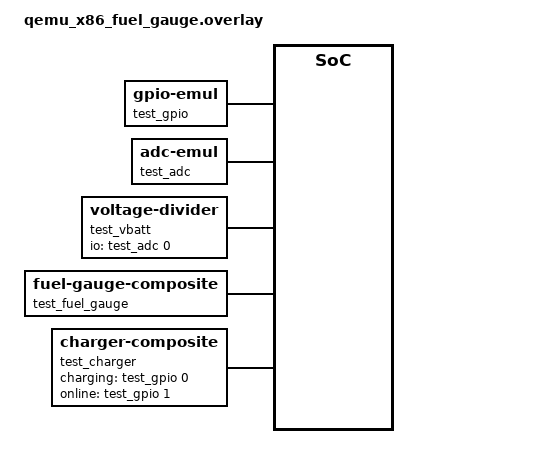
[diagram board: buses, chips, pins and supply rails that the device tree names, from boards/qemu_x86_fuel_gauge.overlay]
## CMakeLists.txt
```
cmake_minimum_required(VERSION 3.20.0)

find_package(Zephyr REQUIRED HINTS $ENV{ZEPHYR_BASE})
project(meshbus_power_contract_test)

target_sources(app PRIVATE src/test_api.c)

target_link_libraries(zephyr_interface INTERFACE
  "-Wl,--wrap=settings_save_one"
  "-Wl,--wrap=sys_poweroff"
  "-Wl,--wrap=sys_reboot"
)
```

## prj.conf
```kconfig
CONFIG_ZTEST=y
CONFIG_ASSERT=y
CONFIG_LOG=y

CONFIG_MESHBUS=y
CONFIG_MESHBUS_SHELL=n
CONFIG_MESHBUS_POWER=y
CONFIG_MESHBUS_POWER_SHELL=n
CONFIG_MESHBUS_POWER_STATS=n
CONFIG_ACPI=y
CONFIG_ACPI_POWEROFF=y
CONFIG_PM_DEVICE=y

CONFIG_ZBUS_RUNTIME_OBSERVERS=y
CONFIG_SETTINGS=y
CONFIG_SETTINGS_NONE=y

CONFIG_MAIN_STACK_SIZE=4096
CONFIG_SYSTEM_WORKQUEUE_STACK_SIZE=4096
CONFIG_ZTEST_STACK_SIZE=4096
```

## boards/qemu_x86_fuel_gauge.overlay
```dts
/*
 * Copyright (c) 2026 FoBE Studio
 *
 * SPDX-License-Identifier: Apache-2.0
 */

#include <zephyr/dt-bindings/adc/adc.h>
#include <zephyr/dt-bindings/battery/battery.h>
#include <zephyr/dt-bindings/gpio/gpio.h>

/ {
	chosen {
		meshbus-fuel-gauge = &test_fuel_gauge;
		meshbus-charger = &test_charger;
	};

	test_gpio: gpio {
		compatible = "zephyr,gpio-emul";
		ngpios = <2>;
		status = "okay";
		#gpio-cells = <2>;
		gpio-controller;
	};

	test_adc: adc {
		compatible = "zephyr,adc-emul";
		nchannels = <1>;
		ref-internal-mv = <3300>;
		#io-channel-cells = <1>;
		status = "okay";

		#address-cells = <1>;
		#size-cells = <0>;

		channel@0 {
			reg = <0>;
			zephyr,gain = "ADC_GAIN_1_2";
			zephyr,reference = "ADC_REF_INTERNAL";
			zephyr,vref-mv = <3300>;
			zephyr,acquisition-time = <ADC_ACQ_TIME_DEFAULT>;
			zephyr,resolution = <12>;
		};
	};

	test_vbatt: vbatt {
		compatible = "voltage-divider";
		io-channels = <&test_adc 0>;
		output-ohms = <100000>;
		full-ohms = <100000>;
	};

	test_fuel_gauge: fuel_gauge {
		compatible = "zephyr,fuel-gauge-composite";
		source-primary = <&test_vbatt>;
		device-chemistry = "lithium-ion-polymer";
		ocv-capacity-table-0 = <BATTERY_OCV_CURVE_LITHIUM_ION_POLYMER_DEFAULT>;
		charge-full-design-microamp-hours = <1500000>;
	};

	test_charger: charger {
		compatible = "zephyr,charger-composite";
		source-primary = <&test_fuel_gauge>;
		charging-gpios = <&test_gpio 0 GPIO_ACTIVE_HIGH>;
		online-gpios = <&test_gpio 1 GPIO_ACTIVE_HIGH>;
		constant-charge-voltage-max-microvolt = <4200000>;
		gpio-debounce-ms = <10>;
		gpio-poll-interval-ms = <20>;
	};
};
```

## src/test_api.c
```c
// SPDX-License-Identifier: Apache-2.0
/*
 * Copyright (c) 2026 FoBE Studio
 */

#include <errno.h>
#include <setjmp.h>
#include <string.h>

#include <zephyr/device.h>
#include <zephyr/devicetree.h>
#if DT_HAS_CHOSEN(meshbus_fuel_gauge)
#include <zephyr/drivers/adc/adc_emul.h>
#include <zephyr/drivers/gpio/gpio_emul.h>
#endif
#include <zephyr/meshbus/power.h>
#if IS_ENABLED(CONFIG_MESHBUS_MESHCORE)
#include <zephyr/meshbus/meshcore.h>
#endif
#include <zephyr/settings/settings.h>
#include <zephyr/sys/reboot.h>
#include <zephyr/zbus/zbus.h>
#include <zephyr/ztest.h>

#if DT_HAS_CHOSEN(meshbus_fuel_gauge)
#define ADC_NODE       DT_NODELABEL(test_adc)
#define GPIO_NODE      DT_NODELABEL(test_gpio)
#define CHARGER_NODE   DT_NODELABEL(test_charger)
#define ADC_CHANNEL_ID 0U
#define CHARGING_PIN   DT_GPIO_PIN(CHARGER_NODE, charging_gpios)
#define ONLINE_PIN     DT_GPIO_PIN(CHARGER_NODE, online_gpios)
#define POWER_TEST_SAMPLE_INTERVAL_MS CONFIG_MESHBUS_POWER_SAMPLE_INTERVAL
#define POWER_TEST_LOW_TIMEOUT_S      2U
#define POWER_TEST_LOW_RESET_TIMEOUT_S 4U
#define POWER_TEST_LOW_SAMPLE_COUNT   6U

static const struct device *const adc_dev = DEVICE_DT_GET(ADC_NODE);
static const struct device *const gpio_dev = DEVICE_DT_GET(GPIO_NODE);

struct test_adc_state {
	uint32_t voltage_mv;
	uint32_t read_count;
	int rc;
};

static struct test_adc_state adc_state;
static K_SEM_DEFINE(power_event_sem, 0, 1);

static void power_event_listener_cb(const struct zbus_channel *chan)
{
	ARG_UNUSED(chan);

	k_sem_give(&power_event_sem);
}

ZBUS_LISTENER_DEFINE(power_event_listener, power_event_listener_cb);
ZBUS_CHAN_ADD_OBS(meshbus_power_fuel_gauge_data_chan, power_event_listener, 3);
#endif

static enum meshbus_power_action last_action;
static uint32_t action_count;
static uint32_t poweroff_count;
static uint32_t reboot_count;
static int last_reboot_type;
static jmp_buf power_jump_env;
static bool power_jump_armed;

#if IS_ENABLED(CONFIG_MESHBUS_MESHCORE)
#define MESHCORE_SETTINGS_CONFIG_KEY "meshbus/meshcore/config"

static K_SEM_DEFINE(meshcore_shutdown_done_sem, 0, 1);
static uint32_t meshcore_settings_save_count;
static int meshcore_shutdown_jump_code;
static bool meshcore_save_before_poweroff;
static bool meshcore_settings_save_fail;
#endif

int __real_settings_save_one(const char *name, const void *value, size_t value_len);

int __wrap_settings_save_one(const char *name, const void *value, size_t value_len)
{
#if IS_ENABLED(CONFIG_MESHBUS_MESHCORE)
	if (name != NULL && strcmp(name, MESHCORE_SETTINGS_CONFIG_KEY) == 0) {
		meshcore_settings_save_count++;
		meshcore_save_before_poweroff = poweroff_count == 0U;
		if (meshcore_settings_save_fail) {
			return -EIO;
		}

		return 0;
	}
#endif

	return __real_settings_save_one(name, value, value_len);
}

void __wrap_sys_poweroff(void)
{
	poweroff_count++;
	if (power_jump_armed) {
		longjmp(power_jump_env, 1);
	}
}

void __wrap_sys_reboot(int type)
{
	reboot_count++;
	last_reboot_type = type;
	if (power_jump_armed) {
		longjmp(power_jump_env, 2);
	}
}

#if IS_ENABLED(CONFIG_MESHBUS_MESHCORE)
static void meshcore_shutdown_work_handler(struct k_work *work)
{
	ARG_UNUSED(work);

	meshcore_shutdown_jump_code = setjmp(power_jump_env);
	if (meshcore_shutdown_jump_code == 0) {
		power_jump_armed = true;
		(void)meshbus_power_shutdown();
		zassert_unreachable("meshbus_power_shutdown should reach sys_poweroff");
	}
	power_jump_armed = false;
	k_sem_give(&meshcore_shutdown_done_sem);
}
K_WORK_DEFINE(meshcore_shutdown_work, meshcore_shutdown_work_handler);

static void meshcore_shutdown_run(void)
{
	k_sem_reset(&meshcore_shutdown_done_sem);
	zassert_equal(k_work_submit(&meshcore_shutdown_work), 1,
		      "shutdown work was not submitted");
	zassert_ok(k_sem_take(&meshcore_shutdown_done_sem, K_SECONDS(2)),
		   "shutdown work did not reach sys_poweroff");
}
#endif

static void power_action_cb(enum meshbus_power_action action, void *user_data)
{
	ARG_UNUSED(user_data);
	last_action = action;
	action_count++;
}
MESHBUS_POWER_ACTION_CALLBACK_DEFINE(power_action_cb, NULL);

#if DT_HAS_CHOSEN(meshbus_fuel_gauge)
static int test_adc_value_func(const struct device *dev, unsigned int chan, void *data,
			       uint32_t *result)
{
	struct test_adc_state *state = data;

	ARG_UNUSED(dev);
	ARG_UNUSED(chan);

	state->read_count++;
	if (state->rc != 0) {
		return state->rc;
	}

	*result = state->voltage_mv;
	return 0;
}

static void test_wait_fuel_gauge_cache_expire(void)
{
	k_sleep(K_MSEC(CONFIG_FUEL_GAUGE_COMPOSITE_DATA_VALIDITY_MS + 5));
}

static void test_set_adc_voltage(uint32_t voltage_mv)
{
	adc_state.voltage_mv = voltage_mv;
	adc_state.rc = 0;
	test_wait_fuel_gauge_cache_expire();
}

static void test_set_adc_error(int rc)
{
	adc_state.rc = rc;
	test_wait_fuel_gauge_cache_expire();
}

static void test_set_charging(bool charging)
{
	zassert_ok(gpio_emul_input_set(gpio_dev, CHARGING_PIN, charging ? 1 : 0));
	zassert_ok(gpio_emul_input_set(gpio_dev, ONLINE_PIN, charging ? 1 : 0));
}

static void test_wait_for_next_power_event(k_timeout_t timeout)
{
	k_sem_reset(&power_event_sem);
	zassert_ok(k_sem_take(&power_event_sem, timeout), "Timed out waiting for power event");
}

static void test_reset_fuel_gauge_state(void)
{
	zassert_true(device_is_ready(adc_dev), "ADC emulator is not ready");
	zassert_true(device_is_ready(gpio_dev), "GPIO emulator is not ready");

	adc_state.voltage_mv = 3900U;
	adc_state.read_count = 0U;
	adc_state.rc = 0;
	k_sem_reset(&power_event_sem);
	zassert_ok(
		adc_emul_value_func_set(adc_dev, ADC_CHANNEL_ID, test_adc_value_func, &adc_state));
	test_set_charging(false);
	test_wait_fuel_gauge_cache_expire();
}

static bool test_event_matches_voltage(const struct meshbus_power_fuel_gauge_data_event *event,
				       uint32_t voltage_mv)
{
	return event->voltage_mv >= voltage_mv - 20U && event->voltage_mv <= voltage_mv + 20U;
}

static void test_wait_for_voltage_event(uint32_t voltage_mv)
{
	struct meshbus_power_fuel_gauge_data_event event = {0};

	for (uint8_t i = 0U; i < 4U; i++) {
		zassert_ok(zbus_chan_read(&meshbus_power_fuel_gauge_data_chan, &event,
					  K_MSEC(POWER_TEST_SAMPLE_INTERVAL_MS + 250)));
		if (test_event_matches_voltage(&event, voltage_mv)) {
			return;
		}
		k_sleep(K_MSEC(POWER_TEST_SAMPLE_INTERVAL_MS + 100U));
	}

	zassert_unreachable("Timed out waiting for expected fuel-gauge voltage");
}

static void test_wait_without_poweroff(uint32_t duration_ms)
{
	uint32_t before = poweroff_count;

	k_sleep(K_MSEC(duration_ms));
	zassert_equal(poweroff_count, before);
}

static void test_set_low_voltage_config(uint32_t timeout_s)
{
	meshbus_power_config cfg = meshbus_PowerConfig_init_zero;

	cfg.low_voltage_shutdown_timeout = timeout_s;
	zassert_ok(meshbus_power_config_set(&cfg));
}
#endif

static meshbus_power_config valid_power_config(void)
{
	meshbus_power_config cfg = meshbus_PowerConfig_init_zero;

	cfg.low_voltage_shutdown_timeout = 10;
	cfg.losing_power_shutdown_timeout = 20;
	cfg.no_connection_shutdown_timeout = 30;
	return cfg;
}

static void power_before(void *fixture)
{
	ARG_UNUSED(fixture);
	zassert_ok(meshbus_power_config_reset());
	last_action = 0;
	action_count = 0;
	poweroff_count = 0;
	reboot_count = 0;
	last_reboot_type = -1;
	power_jump_armed = false;
#if IS_ENABLED(CONFIG_MESHBUS_MESHCORE)
	meshcore_settings_save_count = 0U;
	meshcore_shutdown_jump_code = 0;
	meshcore_save_before_poweroff = false;
	meshcore_settings_save_fail = false;
	k_sem_reset(&meshcore_shutdown_done_sem);
#endif
#if DT_HAS_CHOSEN(meshbus_fuel_gauge)
	test_reset_fuel_gauge_state();
#endif
}

ZTEST(meshbus_power_contract, test_config_defaults_set_get_reset_and_validation)
{
	meshbus_power_config cfg = valid_power_config();
	meshbus_power_config got;

	zassert_equal(meshbus_power_config_get(NULL), -EINVAL);
	zassert_ok(meshbus_power_config_get(&got));
	zassert_equal(got.low_voltage_shutdown_timeout, 0);
	zassert_equal(got.losing_power_shutdown_timeout, 0);
	zassert_equal(got.no_connection_shutdown_timeout, 0);

	zassert_ok(meshbus_power_config_set(&cfg));
	zassert_ok(meshbus_power_config_get(&got));
	zassert_equal(got.low_voltage_shutdown_timeout, cfg.low_voltage_shutdown_timeout);

	cfg.low_voltage_shutdown_timeout = 301;
	zassert_equal(meshbus_power_config_set(&cfg), -EINVAL);

	cfg = valid_power_config();
	cfg.losing_power_shutdown_timeout = 301;
	zassert_equal(meshbus_power_config_set(&cfg), -EINVAL);

	cfg = valid_power_config();
	cfg.no_connection_shutdown_timeout = 301;
	zassert_equal(meshbus_power_config_set(&cfg), -EINVAL);
}

#if !DT_HAS_CHOSEN(meshbus_fuel_gauge)
ZTEST(meshbus_power_contract, test_no_fuel_gauge_and_public_channel_contract)
{
	struct meshbus_power_fuel_gauge_data_event event = {
		.voltage_mv = 3700,
		.soc_percent = 50,
		.temperature_dk = 2981,
		.charging = true,
		.online = true,
	};
	uint16_t voltage;
	uint8_t soc;
	uint16_t temperature;

	zassert_false(meshbus_power_is_charging());
	zassert_false(meshbus_power_is_online());
	zassert_equal(meshbus_power_fuel_gauge_get(&voltage, &soc, &temperature), -ENODEV);
	zassert_ok(zbus_chan_pub(&meshbus_power_fuel_gauge_data_chan, &event, K_NO_WAIT));
	zassert_ok(zbus_chan_read(&meshbus_power_fuel_gauge_data_chan, &event, K_NO_WAIT));
	zassert_equal(event.voltage_mv, 3700);
	zassert_true(event.charging);
}
#endif

#if DT_HAS_CHOSEN(meshbus_fuel_gauge)
ZTEST(meshbus_power_contract, test_fuel_gauge_get_bootstraps_then_uses_cache)
{
	uint32_t first_read_count;
	uint16_t first_voltage;
	uint16_t voltage;
	uint8_t soc;
	uint16_t temperature;

	test_set_adc_voltage(3900U);
	test_wait_for_voltage_event(3900U);
	zassert_ok(meshbus_power_fuel_gauge_get(&voltage, &soc, &temperature));
	zassert_within(voltage, 3900U, 20U);
	zassert_true(soc > 0U, "3900 mV should map to non-zero SOC");
	first_voltage = voltage;
	first_read_count = adc_state.read_count;

	test_set_adc_voltage(4200U);
	zassert_ok(meshbus_power_fuel_gauge_get(&voltage, &soc, &temperature));
	zassert_equal(voltage, first_voltage, "second getter should return cached voltage");
	zassert_equal(adc_state.read_count, first_read_count,
		      "second getter should not read hardware");
}

ZTEST(meshbus_power_contract, test_periodic_work_publishes_fuel_gauge_event)
{
	struct meshbus_power_fuel_gauge_data_event event = {0};

	test_set_adc_voltage(4010U);

	for (uint8_t i = 0U; i < 20U; i++) {
		zassert_ok(zbus_chan_read(&meshbus_power_fuel_gauge_data_chan, &event,
					  K_MSEC(POWER_TEST_SAMPLE_INTERVAL_MS + 250)));
		if (event.voltage_mv >= 3990U && event.voltage_mv <= 4030U) {
			break;
		}
		k_sleep(K_MSEC(POWER_TEST_SAMPLE_INTERVAL_MS + 100U));
	}

	zassert_within(event.voltage_mv, 4010U, 20U);
	zassert_true(event.soc_percent > 0U);
}

ZTEST(meshbus_power_contract, test_charger_notification_publishes_without_periodic_delay)
{
	struct meshbus_power_fuel_gauge_data_event event = {0};

	test_set_charging(false);
	test_set_adc_voltage(3900U);
	test_wait_for_next_power_event(K_MSEC(POWER_TEST_SAMPLE_INTERVAL_MS + 250U));

	k_sem_reset(&power_event_sem);
	test_set_adc_voltage(4010U);
	test_set_charging(true);
	zassert_ok(k_sem_take(&power_event_sem, K_MSEC(250)),
		   "Charger notification did not publish before the periodic interval");
	zassert_ok(zbus_chan_read(&meshbus_power_fuel_gauge_data_chan, &event, K_NO_WAIT));
	zassert_true(event.charging);
	zassert_true(event.online);
	zassert_true(test_event_matches_voltage(&event, 4010U));

	k_sem_reset(&power_event_sem);
	test_set_charging(false);
	zassert_ok(k_sem_take(&power_event_sem, K_MSEC(250)),
		   "Charger removal did not publish before the periodic interval");
	zassert_ok(zbus_chan_read(&meshbus_power_fuel_gauge_data_chan, &event, K_NO_WAIT));
	zassert_false(event.charging);
	zassert_false(event.online);
}

ZTEST(meshbus_power_contract,
      test_low_voltage_state_resets_on_recovery_charging_invalid_and_disable)
{
	meshbus_power_config cfg = meshbus_PowerConfig_init_zero;

	test_set_low_voltage_config(POWER_TEST_LOW_RESET_TIMEOUT_S);
	test_set_charging(false);
	test_set_adc_voltage(2500U);
	test_wait_without_poweroff((POWER_TEST_LOW_SAMPLE_COUNT - 1U) *
				   POWER_TEST_SAMPLE_INTERVAL_MS +
				   (POWER_TEST_LOW_RESET_TIMEOUT_S * MSEC_PER_SEC / 2U));

	test_set_adc_voltage(3900U);
	test_wait_without_poweroff(POWER_TEST_SAMPLE_INTERVAL_MS +
				   POWER_TEST_LOW_RESET_TIMEOUT_S * MSEC_PER_SEC + 500U);

	test_set_adc_voltage(2500U);
	test_wait_without_poweroff((POWER_TEST_LOW_SAMPLE_COUNT - 1U) *
				   POWER_TEST_SAMPLE_INTERVAL_MS +
				   (POWER_TEST_LOW_RESET_TIMEOUT_S * MSEC_PER_SEC / 2U));
	test_set_charging(true);
	test_wait_without_poweroff(POWER_TEST_SAMPLE_INTERVAL_MS +
				   POWER_TEST_LOW_RESET_TIMEOUT_S * MSEC_PER_SEC + 500U);
	test_set_charging(false);

	test_wait_without_poweroff((POWER_TEST_LOW_SAMPLE_COUNT - 1U) *
				   POWER_TEST_SAMPLE_INTERVAL_MS +
				   (POWER_TEST_LOW_RESET_TIMEOUT_S * MSEC_PER_SEC / 2U));
	test_set_adc_error(-EIO);
	test_wait_without_poweroff(POWER_TEST_SAMPLE_INTERVAL_MS +
				   POWER_TEST_LOW_RESET_TIMEOUT_S * MSEC_PER_SEC + 500U);
	test_set_adc_voltage(2500U);

	k_sleep(K_MSEC(POWER_TEST_LOW_SAMPLE_COUNT * POWER_TEST_SAMPLE_INTERVAL_MS + 250U));
	zassert_ok(meshbus_power_config_set(&cfg));
	test_wait_without_poweroff(POWER_TEST_LOW_RESET_TIMEOUT_S * MSEC_PER_SEC + 500U);
}

ZTEST(meshbus_power_contract, test_zz_low_voltage_shutdown_requires_six_samples)
{
	test_set_low_voltage_config(POWER_TEST_LOW_TIMEOUT_S);
	test_set_charging(false);
	test_set_adc_voltage(2500U);

	test_wait_without_poweroff((POWER_TEST_LOW_SAMPLE_COUNT - 1U) *
				   POWER_TEST_SAMPLE_INTERVAL_MS +
				   (POWER_TEST_LOW_TIMEOUT_S * MSEC_PER_SEC / 2U));
	k_sleep(K_MSEC(POWER_TEST_SAMPLE_INTERVAL_MS + POWER_TEST_LOW_TIMEOUT_S * MSEC_PER_SEC +
		       500U));
	zassert_true(poweroff_count > 0U);
}
#endif

#if !DT_HAS_CHOSEN(meshbus_fuel_gauge) && !IS_ENABLED(CONFIG_MESHBUS_MESHCORE)
ZTEST(meshbus_power_contract, test_shutdown_and_reboot_publish_action_callbacks)
{
	int jump_code;

	power_jump_armed = true;
	jump_code = setjmp(power_jump_env);
	if (jump_code == 0) {
		(void)meshbus_power_shutdown();
		zassert_unreachable("meshbus_power_shutdown should reach sys_poweroff");
	}
	power_jump_armed = false;
	zassert_equal(jump_code, 1);
	zassert_equal(action_count, 1);
	zassert_equal(last_action, MESHBUS_POWER_ACTION_SHUTDOWN);
	zassert_equal(poweroff_count, 1);
	zassert_equal(reboot_count, 0);

	action_count = 0;
	poweroff_count = 0;
	reboot_count = 0;
	last_reboot_type = -1;

	power_jump_armed = true;
	jump_code = setjmp(power_jump_env);
	if (jump_code == 0) {
		meshbus_power_reboot();
		zassert_unreachable("meshbus_power_reboot should reach sys_reboot");
	}
	power_jump_armed = false;
	zassert_equal(jump_code, 2);
	zassert_equal(action_count, 1);
	zassert_equal(last_action, MESHBUS_POWER_ACTION_REBOOT);
	zassert_equal(reboot_count, 1);
	zassert_equal(last_reboot_type, SYS_REBOOT_COLD);
}
#endif

#if IS_ENABLED(CONFIG_MESHBUS_MESHCORE)
ZTEST(meshbus_power_contract, test_meshcore_persistence_finishes_before_workqueue_shutdown)
{
	meshbus_meshcore_config cfg;

	zassert_ok(meshbus_meshcore_config_get(&cfg));
	cfg.advert_position = !cfg.advert_position;
	zassert_ok(meshbus_meshcore_config_set(&cfg));

	meshcore_shutdown_run();
	zassert_equal(meshcore_shutdown_jump_code, 1,
		      "shutdown did not reach sys_poweroff");
	zassert_equal(poweroff_count, 1U);
	zassert_equal(meshcore_settings_save_count, 1U,
		      "MeshCore config was not persisted during shutdown");
	zassert_true(meshcore_save_before_poweroff,
		     "MeshCore config persisted after sys_poweroff");
	zassert_equal(meshbus_meshcore_config_set(&cfg), -ESHUTDOWN,
		      "config set was accepted after shutdown started");
	zassert_equal(meshbus_meshcore_config_reset(), -ESHUTDOWN,
		      "config reset was accepted after shutdown started");

	meshcore_settings_save_count = 0U;
	meshcore_save_before_poweroff = false;
	meshcore_settings_save_fail = true;
	poweroff_count = 0U;
	meshcore_shutdown_run();
	zassert_equal(meshcore_shutdown_jump_code, 1,
		      "failed persistence must still continue to sys_poweroff");
	zassert_equal(poweroff_count, 1U);
	zassert_equal(meshcore_settings_save_count, 1U,
		      "shutdown did not attempt failing MeshCore persistence");
	zassert_true(meshcore_save_before_poweroff,
		     "failed MeshCore persistence was attempted after sys_poweroff");
}
#endif

ZTEST_SUITE(meshbus_power_contract, NULL, NULL, power_before, NULL, NULL);
```
